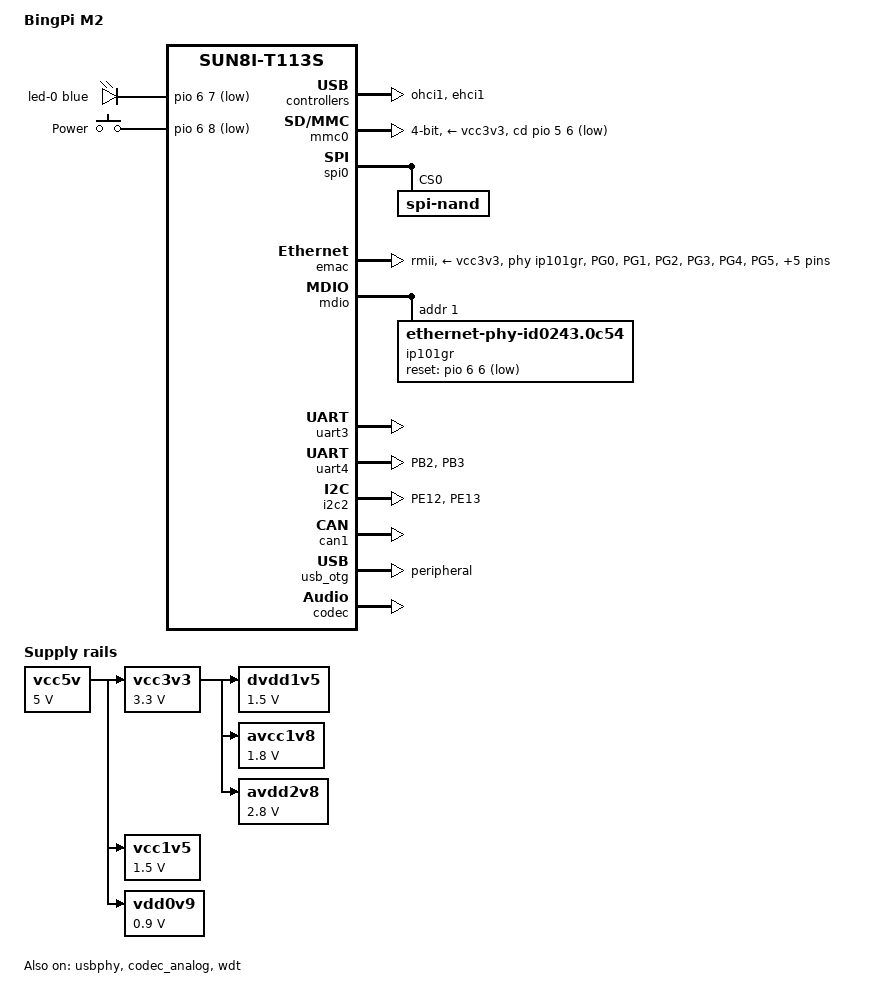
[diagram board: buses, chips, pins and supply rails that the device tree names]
/dts-v1/;

#include "sun8i-t113s.dtsi"
#include <dt-bindings/gpio/gpio.h>
#include <dt-bindings/leds/common.h>
#include <dt-bindings/input/linux-event-codes.h>

/ {
	model = "BingPi M2";
	compatible = "meetyoo93,bingpi-m2", "allwinner,sun8i-t113s";

	aliases {
		ethernet0 = &emac;
		serial3 = &uart3;
		serial4 = &uart4;
	};

	chosen {
		stdout-path = "serial3:115200n8";
	};

	leds {
		compatible = "gpio-leds";

		led-0 {
			color = <LED_COLOR_ID_BLUE>;
			function = LED_FUNCTION_HEARTBEAT;
			linux,default-trigger = "heartbeat";
			gpios = <&pio 6 7 GPIO_ACTIVE_LOW>;
		};
	};

	keys {
		compatible = "gpio-keys";
		autorepeat;

		key-power {
			label = "Power";
			linux,code = <KEY_POWER>;
			gpios = <&pio 6 8 GPIO_ACTIVE_LOW>;
		};
	};

	vcc5v: vcc5v {
		compatible = "regulator-fixed";
		regulator-name = "vcc5v";
		regulator-always-on;
		regulator-min-microvolt = <5000000>;
		regulator-max-microvolt = <5000000>;
	};

	vcc3v3: vcc3v3 {
		compatible = "regulator-fixed";
		regulator-name = "vcc3v3";
		regulator-always-on;
		regulator-min-microvolt = <3300000>;
		regulator-max-microvolt = <3300000>;
		vin-supply = <&vcc5v>;
	};

	vcc1v5: vcc1v5 {
		compatible = "regulator-fixed";
		regulator-name = "vcc1v5";
		regulator-always-on;
		regulator-min-microvolt = <1500000>;
		regulator-max-microvolt = <1500000>;
		vin-supply = <&vcc5v>;
	};

	vdd0v9: vdd0v9 {
		compatible = "regulator-fixed";
		regulator-name = "vdd0v9";
		regulator-always-on;
		regulator-min-microvolt = <900000>;
		regulator-max-microvolt = <900000>;
		vin-supply = <&vcc5v>;
	};

	dvdd1v5: dvdd1v5 {
		compatible = "regulator-fixed";
		regulator-name = "dvdd1v5";
		regulator-always-on;
		regulator-min-microvolt = <1500000>;
		regulator-max-microvolt = <1500000>;
		vin-supply = <&vcc3v3>;
	};

	avcc1v8: avcc1v8 {
		compatible = "regulator-fixed";
		regulator-name = "avcc1v8";
		regulator-always-on;
		regulator-min-microvolt = <1800000>;
		regulator-max-microvolt = <1800000>;
		vin-supply = <&vcc3v3>;
	};

	avdd2v8: avdd2v8 {
		compatible = "regulator-fixed";
		regulator-name = "avdd2v8";
		regulator-always-on;
		regulator-min-microvolt = <2800000>;
		regulator-max-microvolt = <2800000>;
		vin-supply = <&vcc3v3>;
	};
};

&cpu0 {
	cpu-supply = <&vdd0v9>;
};

&cpu1 {
	cpu-supply = <&vdd0v9>;
};

&dcxo {
	clock-frequency = <24000000>;
};

// &ohci0 {
// 	status = "okay";
// };
//
// &ehci0 {
// 	status = "okay";
// };

&ohci1 {
	status = "okay";
};

&ehci1 {
	status = "okay";
};

&mmc0 {
	pinctrl-0 = <&mmc0_pins>;
	pinctrl-names = "default";
	vmmc-supply = <&vcc3v3>;
	cd-gpios = <&pio 5 6 GPIO_ACTIVE_LOW>;
	disable-wp;
	bus-width = <4>;
	status = "okay";
};

&spi0 {
	pinctrl-0 = <&spi0_pins>;
	pinctrl-names = "default";
	status = "okay";

	// 128MiB
	spi-nand@0 {
		#address-cells = <1>;
		#size-cells = <1>;
		compatible = "spi-nand";
		reg = <0>;
	};
};

&emac {
	pinctrl-0 = <&rmii_pg_pins>;
	pinctrl-names = "default";
	phy-mode = "rmii";
	phy-handle = <&ip101gr>;
	phy-supply = <&vcc3v3>;
	// BingPi M2的IP101GR硬件设计依赖EPHY-25M
	use-ephy-clk;
	clocks = <&ccu CLK_BUS_EMAC>, <&ccu CLK_EMAC_25M>;
	clock-names = "stmmaceth", "ephy";
	status = "okay";
};

&mdio {
	ip101gr: ethernet-phy@1 {
		reg = <1>;
		compatible = "ethernet-phy-id0243.0c54", "ethernet-phy-ieee802.3-c22";
		icplus,select-rx-error;
		reset-assert-us = <10000>;
		reset-deassert-us = <10000>;
		reset-gpios = <&pio 6 6 GPIO_ACTIVE_LOW>;
	};
};

&uart3 {
	pinctrl-names = "default";
	pinctrl-0 = <&uart3_pb_pins>;
	status = "okay";
};

&uart4 {
	pinctrl-names = "default";
	pinctrl-0 = <&uart4_pb_pins>;
	status = "okay";
};

&i2c2 {
	pinctrl-names = "default";
	pinctrl-0 = <&i2c2_pe_pins>;
	status = "okay";
};

&can1 {
	status = "okay";
};

// CC1和CC2均有下拉电阻，所以为UFP
// 如果一定要作为DRP，可以将dr_mode设置成otg，并取消注释使能ohci0和ehci0部分
// 作为DRP时不支持自动识别，只能在系统中手动切换模式
// echo "peripheral" > /sys/devices/platform/soc/4100000.usb/musb-hdrc.2.auto/mode
// echo "host" > /sys/devices/platform/soc/4100000.usb/musb-hdrc.2.auto/mode
&usb_otg {
	dr_mode = "peripheral";
	status = "okay";
};

&usbphy {
	usb1_vbus-supply = <&vcc5v>;
	status = "okay";
};

&codec {
	allwinner,audio-routing =
		"Headphone", "HP",
		"MIC3", "Mic";
	status = "okay";
};

&codec_analog {
	status = "okay";
};

&wdt {
	status = "okay";
};

&pio {
	// PG11虽然不属于xMII接口,但是复用成emac（Function4）才能将EPHY-25M路由出来
	rmii_pg_pins: rmii-pg-pins {
		pins = "PG0", "PG1", "PG2", "PG3", "PG4",
					"PG5", "PG11" , "PG12", "PG13", "PG14", "PG15";
		function = "emac";
	};

	uart4_pb_pins: uart4-pb-pins {
		pins = "PB2", "PB3";
		function = "uart4";
	};

	i2c2_pe_pins: i2c2-pe-pins {
		pins = "PE12", "PE13";
		function = "i2c2";
	};
};
